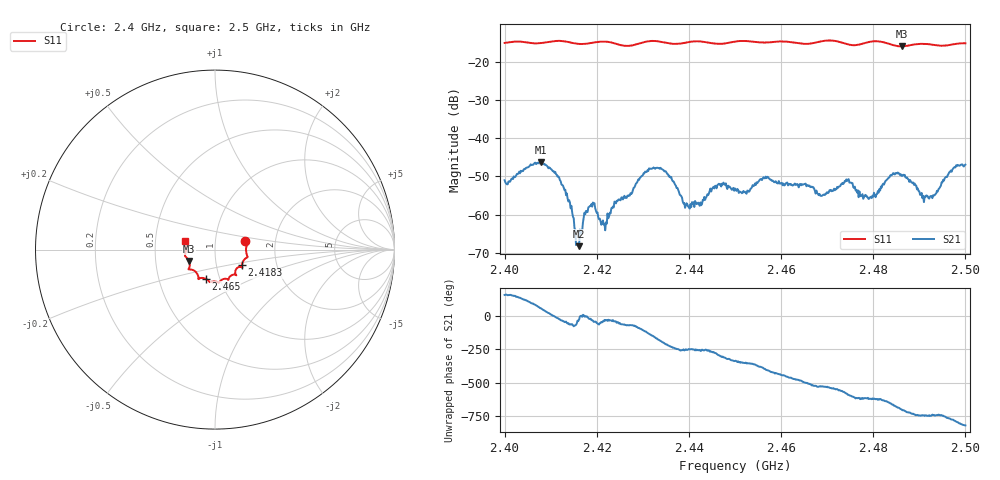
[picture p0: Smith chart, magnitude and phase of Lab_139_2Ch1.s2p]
# Hz S RI R
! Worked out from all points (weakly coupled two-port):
!   601 points, 2.4 GHz to 2.5 GHz, reference 50 ohm
!   highest |S21| = -46.22 dB at 2.4078 GHz (marker M1); lowest = -68.2 dB at 2.4162 GHz (marker M2)
!   lowest |S11| = -16.0 dB at 2.4862 GHz (marker M3), VSWR 1.38, Z = 37.1 - j4.83 ohm
!   |S11| at or under -10 dB: start of sweep to end of sweep
!   S12 and S22 are empty: the file has one direction only
!   S11 on the Smith chart (normalised r, x): 2.4 GHz: 1.40, +0.13; 2.4183 GHz: 1.33, -0.24; 2.465 GHz: 0.86, -0.29; 2.5 GHz: 0.71, +0.07
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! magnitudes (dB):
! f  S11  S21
! 2.4 GHz  -15.1  -51.0
! 2.4078 GHz  -15.2  -46.2
! 2.4122 GHz  -14.6  -51.3
! 2.4162 GHz  -15.4  -68.2
! 2.4167 GHz  -15.4  -64.1
! 2.4183 GHz  -15.2  -58.0
! 2.4217 GHz  -14.8  -62.4
! 2.4243 GHz  -15.4  -56.4
! 2.4333 GHz  -14.7  -47.8
! 2.4397 GHz  -15.0  -57.3
! 2.4462 GHz  -15.3  -52.3
! 2.45 GHz  -14.8  -53.2
! 2.4567 GHz  -15.0  -50.1
! 2.465 GHz  -15.4  -52.0
! 2.4667 GHz  -15.2  -52.7
! 2.469 GHz  -14.6  -55.0
! 2.4743 GHz  -15.5  -51.2
! 2.4792 GHz  -14.9  -55.8
! 2.4833 GHz  -15.3  -50.4
! 2.4862 GHz  -16.0  -49.9
! 2.4923 GHz  -15.5  -55.3
! 2.5 GHz  -15.2  -46.9
